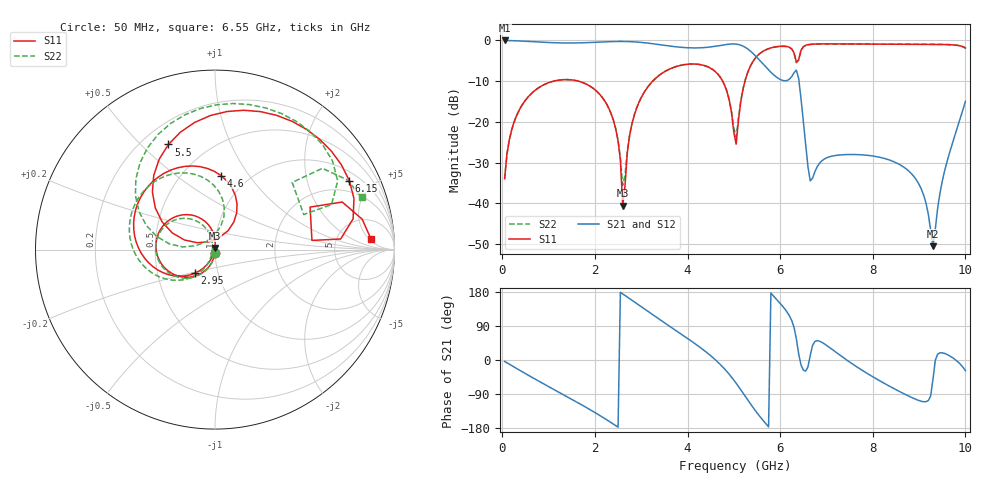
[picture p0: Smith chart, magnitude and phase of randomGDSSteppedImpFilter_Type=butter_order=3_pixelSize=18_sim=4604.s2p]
! freq	dB(S11)	phase(S11)	dB(S12)	phase(S12)
!  dB(S21)	phase(S21)	dB(S22)	phase(S22)
!S-par simulation data
#  GHz  S  DB  R 50
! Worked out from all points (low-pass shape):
!   200 points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, 50 MHz to 10 GHz, reference 50 ohm
!   highest |S21| = -0.01 dB at 50 MHz (marker M1); lowest = -50.5 dB at 9.3 GHz (marker M2)
!   |S21| within 3 dB of the highest: start of sweep to 5.396 GHz
!   lowest |S11| = -40.6 dB at 2.6 GHz (marker M3), VSWR 1.02, Z = 49.9 + j0.932 ohm
!   |S11| at or under -10 dB: start of sweep to 1.108 GHz; 1.641 GHz to 3.248 GHz (1.607 GHz wide, 65.7 % of centre); 4.758 GHz to 5.241 GHz (483.3 MHz wide, 9.67 % of centre)
!   |S22| runs from -35.6 to -0.9 dB; largest |S21 - S12| = 0
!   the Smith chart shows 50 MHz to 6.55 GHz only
!   S11 on the Smith chart (normalised r, x): 50 MHz: 1.00, -0.04; 2.95 GHz: 0.77, -0.21; 4.6 GHz: 0.75, +0.75; 5.5 GHz: 0.31, +0.61; 6.15 GHz: 1.38, +3.64; 6.55 GHz: 12, +6
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0.05  -33.97 -93.5  -0.01 -3.7  -0.01 -3.7  -33.97 -93.4
0.55  -13.98 -130.7  -0.23 -39.4  -0.23 -39.4  -13.98 -129.1
1.75  -10.41 146.4  -0.57 -120.8  -0.57 -120.8  -10.41 152.1
2.4  -19.64 97.8  -0.27 -169.2  -0.27 -169.2  -19.60 110.2
2.55  -29.36 87.5  -0.25 178.6  -0.25 178.6  -28.82 113.3
2.6  -40.59 93.2  -0.25 174.5  -0.25 174.5  -35.58 146.6
2.75  -23.33 -114.1  -0.29 161.9  -0.29 161.9  -23.09 -116.8
2.95  -15.24 -130.4  -0.43 144.9  -0.43 144.9  -15.19 -126.3
3.4  -8.47 -168.8  -1.05 106.7  -1.05 106.7  -8.45 -160.5
4.6  -7.66 85.4  -1.43 0.6  -1.43 0.6  -7.63 101.0
5.05  -25.48 125.1  -0.91 -61.3  -0.91 -61.3  -23.69 137.4
5.2  -11.87 158.7  -1.41 -87.4  -1.41 -87.4  -11.80 172.8
5.5  -3.87 113.9  -4.19 -139.3  -4.19 -139.3  -3.88 130.8
6.15  -1.50 27.2  -9.84 126.4  -9.84 126.4  -1.54 44.3
6.35  -5.31 5.4  -7.29 55.7  -7.29 55.7  -5.49 21.6
6.55  -1.20 3.8  -25.37 -29.4  -25.37 -29.4  -1.24 19.7
6.7  -0.91 -15.0  -33.84 38.6  -33.84 38.6  -0.95 -0.1
7.45  -0.87 -86.7  -28.02 -1.2  -28.02 -1.2  -0.87 -75.2
8.35  -0.96 -158.5  -29.32 -68.5  -29.32 -68.5  -0.90 -144.9
9  -0.98 154.2  -35.36 -107.1  -35.36 -107.1  -0.92 173.1
9.3  -0.98 132.6  -50.52 -50.7  -50.52 -50.7  -0.94 154.6
10  -1.87 74.5  -14.95 -28.0  -14.95 -28.0  -1.85 104.4
